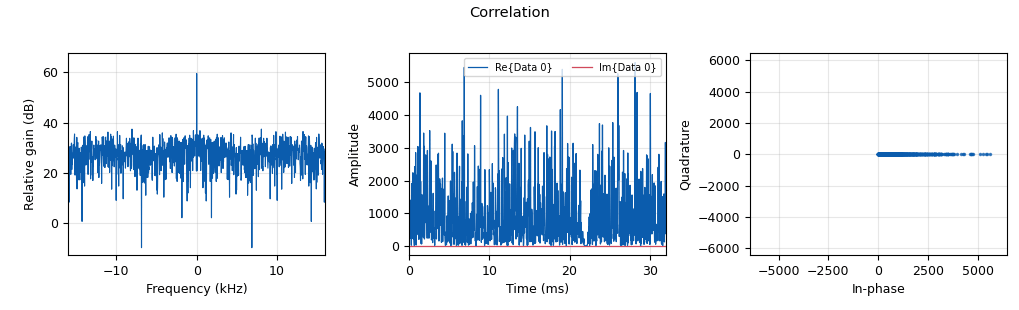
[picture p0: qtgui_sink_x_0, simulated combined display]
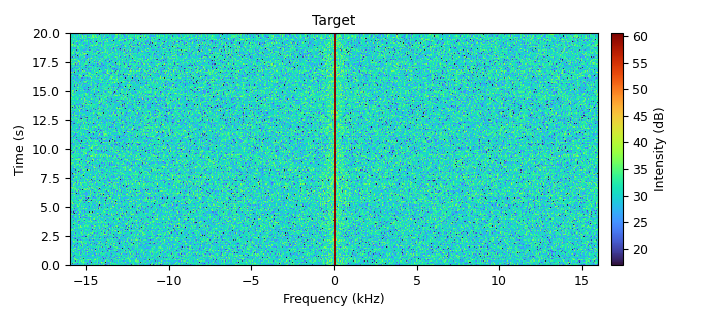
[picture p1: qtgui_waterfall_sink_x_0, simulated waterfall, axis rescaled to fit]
<?xml version='1.0' encoding='utf-8'?>
<?grc format='1' created='3.7.10'?>
<flow_graph>
<block>
<key>options</key>
<param><key>id</key><value>example_1</value></param>
<param><key>author</key><value>Peter F Bradshaw</value></param>
<param><key>description</key><value>Example of cross correlation</value></param>
<param><key>generate_options</key><value>qt_gui</value></param>
<param><key>title</key><value>A Givern Example</value></param>
</block>
<block>
<key>variable_function_probe</key>
<param><key>id</key><value>d_sq</value></param>
<param><key>block_id</key><value>probe_sq</value></param>
<param><key>function_name</key><value>level</value></param>
<param><key>value</key><value>0</value></param>
<param><key>poll_rate</key><value>100</value></param>
</block>
<block>
<key>variable_qtgui_range</key>
<param><key>id</key><value>delay</value></param>
<param><key>value</key><value>0</value></param>
<param><key>orient</key><value>Qt.Horizontal</value></param>
<param><key>start</key><value>-125</value></param>
<param><key>step</key><value>1</value></param>
<param><key>stop</key><value>125</value></param>
<param><key>rangeType</key><value>int</value></param>
</block>
<block>
<key>variable</key>
<param><key>id</key><value>samp_rate</value></param>
<param><key>value</key><value>32000</value></param>
</block>
<block>
<key>analog_fastnoise_source_x</key>
<param><key>id</key><value>analog_fastnoise_source_x_0</value></param>
<param><key>amp</key><value>1</value></param>
<param><key>noise_type</key><value>analog.GR_GAUSSIAN</value></param>
<param><key>type</key><value>complex</value></param>
<param><key>seed</key><value>0</value></param>
<param><key>samples</key><value>8192</value></param>
</block>
<block>
<key>analog_sig_source_x</key>
<param><key>id</key><value>analog_sig_source_x_1</value></param>
<param><key>amp</key><value>250</value></param>
<param><key>freq</key><value>1000</value></param>
<param><key>offset</key><value>-125</value></param>
<param><key>type</key><value>float</value></param>
<param><key>samp_rate</key><value>samp_rate</value></param>
<param><key>waveform</key><value>analog.GR_SQR_WAVE</value></param>
</block>
<block>
<key>blocks_multiply_conjugate_cc</key>
<param><key>id</key><value>blocks_multiply_conjugate_cc_0</value></param>
<param><key>vlen</key><value>1024</value></param>
</block>
<block>
<key>blocks_stream_to_vector</key>
<param><key>id</key><value>blocks_stream_to_vector_0</value></param>
<param><key>type</key><value>complex</value></param>
<param><key>num_items</key><value>1024</value></param>
</block>
<block>
<key>blocks_stream_to_vector</key>
<param><key>id</key><value>blocks_stream_to_vector_1</value></param>
<param><key>type</key><value>complex</value></param>
<param><key>num_items</key><value>1024</value></param>
</block>
<block>
<key>blocks_throttle</key>
<param><key>id</key><value>blocks_throttle_0</value></param>
<param><key>samples_per_second</key><value>samp_rate</value></param>
<param><key>type</key><value>complex</value></param>
</block>
<block>
<key>blocks_vector_to_stream</key>
<param><key>id</key><value>blocks_vector_to_stream_0</value></param>
<param><key>type</key><value>complex</value></param>
<param><key>num_items</key><value>1024</value></param>
</block>
<block>
<key>dc_blocker_xx</key>
<param><key>id</key><value>dc_blocker_xx_0</value></param>
<param><key>length</key><value>32</value></param>
<param><key>long_form</key><value>True</value></param>
<param><key>type</key><value>cc</value></param>
</block>
<block>
<key>fft_vxx</key>
<param><key>id</key><value>fft_vxx_0</value></param>
<param><key>fft_size</key><value>1024</value></param>
<param><key>forward</key><value>False</value></param>
<param><key>type</key><value>complex</value></param>
<param><key>shift</key><value>False</value></param>
<param><key>window</key><value>window.rectangular(1024)</value></param>
</block>
<block>
<key>fft_vxx</key>
<param><key>id</key><value>fft_vxx_1</value></param>
<param><key>fft_size</key><value>1024</value></param>
<param><key>forward</key><value>False</value></param>
<param><key>type</key><value>complex</value></param>
<param><key>shift</key><value>False</value></param>
<param><key>window</key><value>window.rectangular(1024)</value></param>
</block>
<block>
<key>blocks_probe_signal_x</key>
<param><key>id</key><value>probe_sq</value></param>
<param><key>type</key><value>float</value></param>
</block>
<block>
<key>qtgui_sink_x</key>
<param><key>id</key><value>qtgui_sink_x_0</value></param>
<param><key>bw</key><value>samp_rate</value></param>
<param><key>fc</key><value>0</value></param>
<param><key>freqchangevar</key><value>None</value></param>
<param><key>fftsize</key><value>1024</value></param>
<param><key>name</key><value>"Correlation"</value></param>
<param><key>showports</key><value>True</value></param>
<param><key>type</key><value>complex</value></param>
<param><key>wintype</key><value>firdes.WIN_RECTANGULAR</value></param>
</block>
<block>
<key>qtgui_waterfall_sink_x</key>
<param><key>id</key><value>qtgui_waterfall_sink_x_0</value></param>
<param><key>bw</key><value>samp_rate</value></param>
<param><key>fc</key><value>0</value></param>
<param><key>fftsize</key><value>1024</value></param>
<param><key>int_max</key><value>50</value></param>
<param><key>name</key><value>Target</value></param>
<param><key>showports</key><value>True</value></param>
<param><key>type</key><value>complex</value></param>
<param><key>wintype</key><value>firdes.WIN_RECTANGULAR</value></param>
</block>
<block>
<key>blocks_delay</key>
<param><key>id</key><value>sig_delay</value></param>
<param><key>delay</key><value>delay</value></param>
<param><key>type</key><value>complex</value></param>
</block>
<connection><source_block_id>analog_fastnoise_source_x_0</source_block_id><sink_block_id>dc_blocker_xx_0</sink_block_id><source_key>0</source_key><sink_key>0</sink_key></connection>
<connection><source_block_id>analog_sig_source_x_1</source_block_id><sink_block_id>probe_sq</sink_block_id><source_key>0</source_key><sink_key>0</sink_key></connection>
<connection><source_block_id>blocks_multiply_conjugate_cc_0</source_block_id><sink_block_id>blocks_vector_to_stream_0</sink_block_id><source_key>0</source_key><sink_key>0</sink_key></connection>
<connection><source_block_id>blocks_stream_to_vector_0</source_block_id><sink_block_id>fft_vxx_0</sink_block_id><source_key>0</source_key><sink_key>0</sink_key></connection>
<connection><source_block_id>blocks_stream_to_vector_1</source_block_id><sink_block_id>fft_vxx_1</sink_block_id><source_key>0</source_key><sink_key>0</sink_key></connection>
<connection><source_block_id>blocks_throttle_0</source_block_id><sink_block_id>blocks_stream_to_vector_1</sink_block_id><source_key>0</source_key><sink_key>0</sink_key></connection>
<connection><source_block_id>blocks_throttle_0</source_block_id><sink_block_id>sig_delay</sink_block_id><source_key>0</source_key><sink_key>0</sink_key></connection>
<connection><source_block_id>blocks_vector_to_stream_0</source_block_id><sink_block_id>qtgui_sink_x_0</sink_block_id><source_key>0</source_key><sink_key>0</sink_key></connection>
<connection><source_block_id>blocks_vector_to_stream_0</source_block_id><sink_block_id>qtgui_waterfall_sink_x_0</sink_block_id><source_key>0</source_key><sink_key>0</sink_key></connection>
<connection><source_block_id>dc_blocker_xx_0</source_block_id><sink_block_id>blocks_throttle_0</sink_block_id><source_key>0</source_key><sink_key>0</sink_key></connection>
<connection><source_block_id>fft_vxx_0</source_block_id><sink_block_id>blocks_multiply_conjugate_cc_0</sink_block_id><source_key>0</source_key><sink_key>1</sink_key></connection>
<connection><source_block_id>fft_vxx_1</source_block_id><sink_block_id>blocks_multiply_conjugate_cc_0</sink_block_id><source_key>0</source_key><sink_key>0</sink_key></connection>
<connection><source_block_id>sig_delay</source_block_id><sink_block_id>blocks_stream_to_vector_0</sink_block_id><source_key>0</source_key><sink_key>0</sink_key></connection>
</flow_graph>
